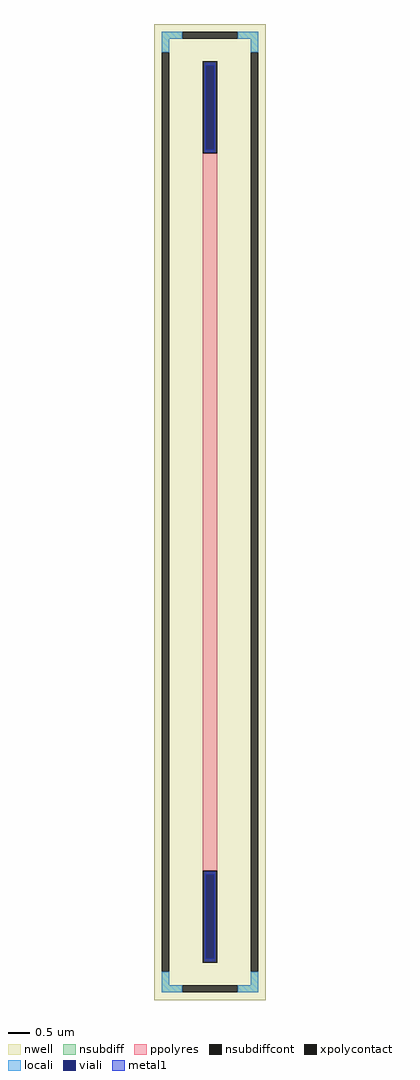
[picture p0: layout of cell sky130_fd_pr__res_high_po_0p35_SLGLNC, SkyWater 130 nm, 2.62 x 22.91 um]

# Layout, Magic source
magic
tech sky130A
magscale 1 2
<< nwell >>
rect -262 -2291 262 2291
<< nsubdiff >>
rect -226 2221 -130 2255
rect 130 2221 226 2255
rect -226 2159 -192 2221
rect 192 2159 226 2221
rect -226 -2221 -192 -2159
rect 192 -2221 226 -2159
rect -226 -2255 -130 -2221
rect 130 -2255 226 -2221
<< nsubdiffcont >>
rect -130 2221 130 2255
rect -226 -2159 -192 2159
rect 192 -2159 226 2159
rect -130 -2255 130 -2221
<< xpolycontact >>
rect -35 1684 35 2116
rect -35 -2116 35 -1684
<< ppolyres >>
rect -35 -1684 35 1684
<< locali >>
rect -226 2221 -130 2255
rect 130 2221 226 2255
rect -226 2159 -192 2221
rect 192 2159 226 2221
rect -226 -2221 -192 -2159
rect 192 -2221 226 -2159
rect -226 -2255 -130 -2221
rect 130 -2255 226 -2221
<< viali >>
rect -19 1701 19 2098
rect -19 -2098 19 -1701
<< metal1 >>
rect -25 2098 25 2110
rect -25 1701 -19 2098
rect 19 1701 25 2098
rect -25 1689 25 1701
rect -25 -1701 25 -1689
rect -25 -2098 -19 -1701
rect 19 -2098 25 -1701
rect -25 -2110 25 -2098
<< properties >>
string FIXED_BBOX -209 -2238 209 2238
string gencell sky130_fd_pr__res_high_po_0p35
string library sky130
string parameters w 0.350 l 17 m 1 nx 1 wmin 0.350 lmin 0.50 rho 319.8 val 16.646k dummy 0 dw 0.0 term 194.82 sterm 0.0 caplen 0 guard 1 glc 1 grc 1 gtc 1 gbc 1 compatible {sky130_fd_pr__res_high_po_0p35  sky130_fd_pr__res_high_po_0p69 sky130_fd_pr__res_high_po_1p41  sky130_fd_pr__res_high_po_2p85 sky130_fd_pr__res_high_po_5p73} snake 0 full_metal 1 wmax 0.350 vias 1 n_guard 1 hv_guard 0 viagb 0 viagt 0 viagl 0 viagr 0
<< end >>
